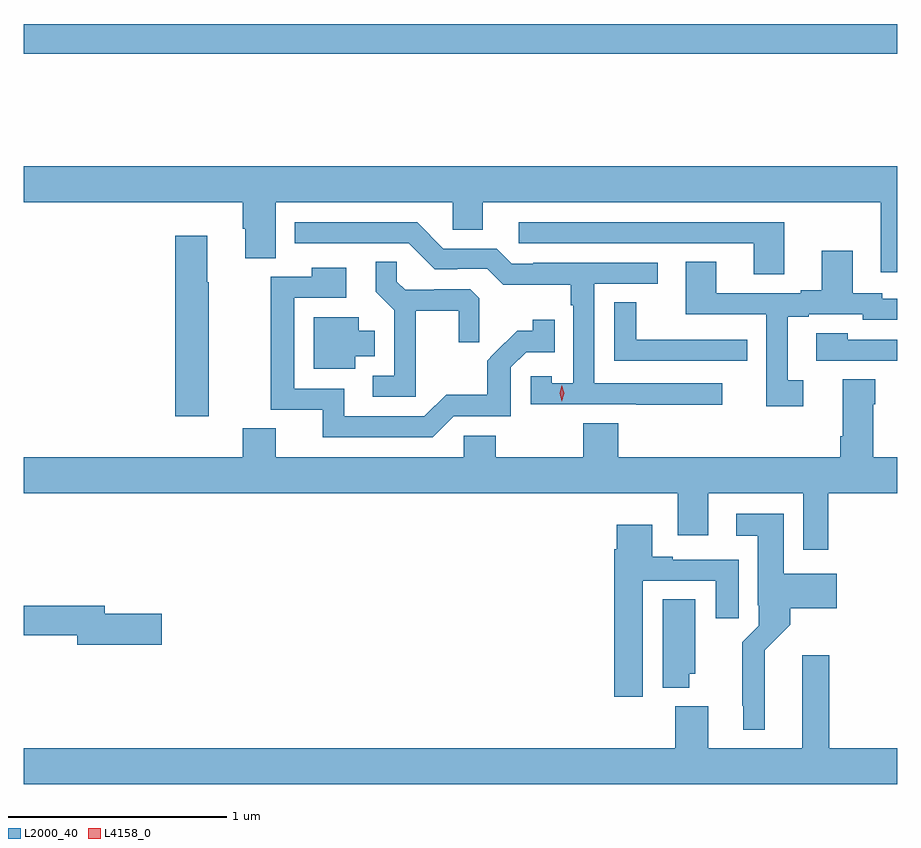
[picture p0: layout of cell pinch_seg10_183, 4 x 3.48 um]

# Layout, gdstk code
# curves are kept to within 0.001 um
import gdstk
lib = gdstk.Library(unit=1e-6, precision=1e-09)
def R(c, l, rs):  # rectangles x0, y0, x1, y1
    for r in rs: c.add(gdstk.rectangle(r[:2], r[2:], *l))
def P(c, l, *ps):  # polygons
    for p in ps: c.add(gdstk.Polygon(p, *l))
L2000_40 = (2000, 40)
L4158_0 = (4158, 0)

pinch_seg10_183 = lib.new_cell('pinch_seg10_183')
R(pinch_seg10_183, L2000_40, [(743.854,1266.364,747.854,1266.5)])
P(pinch_seg10_183, L2000_40, [(747.854,1265.848),(743.854,1265.848),(743.854,1265.684),(744.857,1265.684),(744.857,1265.562),(744.869,1265.562),(744.869,1265.428),(745.009,1265.428),(745.009,1265.684),(745.818,1265.684),(745.818,1265.557),(745.957,1265.557),(745.957,1265.684),(747.779,1265.684),(747.779,1265.364),(747.854,1265.364)],
  [(747.052,1264.854),(746.466,1264.854),(746.466,1265.31),(746.758,1265.31),(746.758,1265.406),(746.188,1265.406),(746.188,1265.403),(746.088,1265.403),(746.019,1265.472),(745.776,1265.472),(745.656,1265.592),(745.094,1265.592),(745.094,1265.496),(745.617,1265.496),(745.737,1265.376),(745.838,1265.376),(745.838,1265.379),(745.977,1265.379),(746.05,1265.306),(746.358,1265.306),(746.358,1265.213),(746.37,1265.213),(746.37,1264.855),(746.271,1264.855),(746.271,1264.887),(746.175,1264.887),(746.175,1264.758),(746.659,1264.758),(746.659,1264.756),(747.052,1264.756)],
  [(747.337,1265.592),(746.121,1265.592),(746.121,1265.496),(747.197,1265.496),(747.197,1265.353),(747.337,1265.353)],
  [(744.702,1265.317),(744.694,1265.317),(744.694,1265.53),(744.548,1265.53),(744.548,1264.704),(744.702,1264.704)],
  [(747.424,1264.869),(747.352,1264.869),(747.352,1265.16),(747.448,1265.16),(747.448,1265.172),(747.696,1265.172),(747.696,1265.145),(747.854,1265.145),(747.854,1265.241),(747.786,1265.241),(747.786,1265.268),(747.649,1265.268),(747.649,1265.461),(747.509,1265.461),(747.509,1265.281),(747.413,1265.281),(747.413,1265.268),(747.025,1265.268),(747.025,1265.411),(746.885,1265.411),(746.885,1265.172),(747.255,1265.172),(747.255,1264.749),(747.424,1264.749)],
  [(745.649,1265.186),(745.846,1265.186),(745.846,1265.043),(745.94,1265.043),(745.94,1265.245),(745.899,1265.286),(745.734,1265.286),(745.734,1265.283),(745.6,1265.283),(745.563,1265.32),(745.563,1265.411),(745.465,1265.411),(745.465,1265.275),(745.551,1265.189),(745.551,1264.89),(745.452,1264.89),(745.452,1264.794),(745.649,1264.794)],
  [(745.824,1264.704),(746.085,1264.704),(746.085,1264.929),(746.154,1264.998),(746.285,1264.998),(746.285,1265.146),(746.184,1265.146),(746.184,1265.096),(746.114,1265.096),(745.977,1264.958),(745.977,1264.803),(745.788,1264.803),(745.689,1264.704),(745.321,1264.704),(745.321,1264.83),(745.092,1264.83),(745.092,1265.247),(745.33,1265.247),(745.33,1265.383),(745.174,1265.383),(745.174,1265.343),(744.984,1265.343),(744.984,1264.734),(745.223,1264.734),(745.223,1264.608),(745.728,1264.608)],
  [(747.166,1265.054),(747.053,1265.054),(747.053,1265.055),(746.658,1265.055),(746.658,1265.225),(746.559,1265.225),(746.559,1264.959),(747.166,1264.959)],
  [(745.372,1264.979),(745.462,1264.979),(745.462,1265.095),(745.387,1265.095),(745.387,1265.158),(745.181,1265.158),(745.181,1264.922),(745.372,1264.922)],
  [(747.854,1265.055),(747.627,1265.055),(747.627,1265.083),(747.483,1265.083),(747.483,1264.959),(747.841,1264.959),(747.841,1264.957),(747.854,1264.957)],
  [(747.539,1264.352),(747.854,1264.352),(747.854,1264.516),(747.745,1264.516),(747.745,1264.76),(747.753,1264.76),(747.753,1264.873),(747.605,1264.873),(747.605,1264.612),(747.593,1264.612),(747.593,1264.516),(746.576,1264.516),(746.576,1264.673),(746.416,1264.673),(746.416,1264.516),(746.016,1264.516),(746.016,1264.614),(745.869,1264.614),(745.869,1264.516),(745.009,1264.516),(745.009,1264.649),(744.857,1264.649),(744.857,1264.516),(743.854,1264.516),(743.854,1264.352),(746.849,1264.352),(746.849,1264.158),(746.989,1264.158),(746.989,1264.352),(747.423,1264.352),(747.423,1264.092),(747.539,1264.092)],
  [(747.247,1263.632),(747.365,1263.75),(747.365,1263.824),(747.577,1263.824),(747.577,1263.982),(747.334,1263.982),(747.334,1264.258),(747.117,1264.258),(747.117,1264.157),(747.215,1264.157),(747.215,1263.838),(747.219,1263.838),(747.219,1263.744),(747.145,1263.67),(747.145,1263.379),(747.149,1263.379),(747.149,1263.269),(747.247,1263.269)],
  [(746.689,1263.951),(747.023,1263.951),(747.023,1263.78),(747.127,1263.78),(747.127,1264.047),(746.827,1264.047),(746.827,1264.06),(746.731,1264.06),(746.731,1264.207),(746.57,1264.207),(746.57,1264.094),(746.558,1264.094),(746.558,1263.42),(746.689,1263.42)],
  [(746.902,1263.525),(746.929,1263.525),(746.929,1263.866),(746.78,1263.866),(746.78,1263.461),(746.902,1263.461)],
  [(744.487,1263.8),(744.226,1263.8),(744.226,1263.836),(743.854,1263.836),(743.854,1263.7),(744.098,1263.7),(744.098,1263.658),(744.487,1263.658)],
  [(747.854,1263.184),(747.542,1263.184),(747.542,1263.61),(747.419,1263.61),(747.419,1263.184),(746.989,1263.184),(746.989,1263.376),(746.837,1263.376),(746.837,1263.184),(743.854,1263.184),(743.854,1263.02),(747.854,1263.02)])
P(pinch_seg10_183, L4158_0, [(746.318,1264.773),(746.318,1264.773),(746.308,1264.809),(746.318,1264.845),(746.318,1264.845),(746.318,1264.845),(746.328,1264.809),(746.318,1264.773)])

lib.write_gds('pinch_seg10_183.gds')
